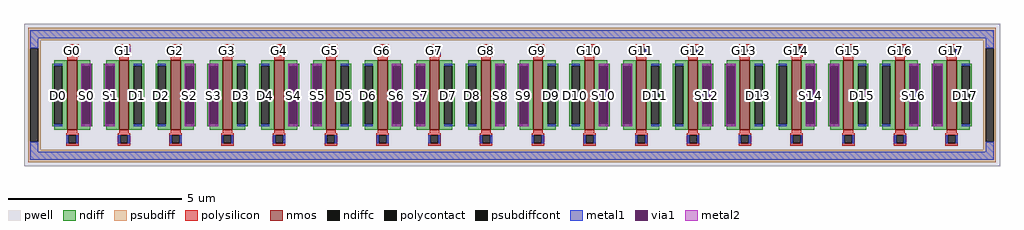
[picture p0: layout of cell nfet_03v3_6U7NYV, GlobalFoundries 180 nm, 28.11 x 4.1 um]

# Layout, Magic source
magic
tech gf180mcuD
magscale 1 10
<< pwell >>
rect -2811 -410 2811 410
<< nmos >>
rect -2561 -200 -2505 200
rect -2263 -200 -2207 200
rect -1965 -200 -1909 200
rect -1667 -200 -1611 200
rect -1369 -200 -1313 200
rect -1071 -200 -1015 200
rect -773 -200 -717 200
rect -475 -200 -419 200
rect -177 -200 -121 200
rect 121 -200 177 200
rect 419 -200 475 200
rect 717 -200 773 200
rect 1015 -200 1071 200
rect 1313 -200 1369 200
rect 1611 -200 1667 200
rect 1909 -200 1965 200
rect 2207 -200 2263 200
rect 2505 -200 2561 200
<< ndiff >>
rect -2636 181 -2561 200
rect -2649 168 -2561 181
rect -2649 -168 -2636 168
rect -2590 -168 -2561 168
rect -2649 -181 -2561 -168
rect -2636 -200 -2561 -181
rect -2505 181 -2430 200
rect -2338 181 -2263 200
rect -2505 168 -2417 181
rect -2505 -168 -2476 168
rect -2430 -168 -2417 168
rect -2505 -181 -2417 -168
rect -2351 168 -2263 181
rect -2351 -168 -2338 168
rect -2292 -168 -2263 168
rect -2351 -181 -2263 -168
rect -2505 -200 -2430 -181
rect -2338 -200 -2263 -181
rect -2207 181 -2132 200
rect -2040 181 -1965 200
rect -2207 168 -2119 181
rect -2207 -168 -2178 168
rect -2132 -168 -2119 168
rect -2207 -181 -2119 -168
rect -2053 168 -1965 181
rect -2053 -168 -2040 168
rect -1994 -168 -1965 168
rect -2053 -181 -1965 -168
rect -2207 -200 -2132 -181
rect -2040 -200 -1965 -181
rect -1909 181 -1834 200
rect -1742 181 -1667 200
rect -1909 168 -1821 181
rect -1909 -168 -1880 168
rect -1834 -168 -1821 168
rect -1909 -181 -1821 -168
rect -1755 168 -1667 181
rect -1755 -168 -1742 168
rect -1696 -168 -1667 168
rect -1755 -181 -1667 -168
rect -1909 -200 -1834 -181
rect -1742 -200 -1667 -181
rect -1611 181 -1536 200
rect -1444 181 -1369 200
rect -1611 168 -1523 181
rect -1611 -168 -1582 168
rect -1536 -168 -1523 168
rect -1611 -181 -1523 -168
rect -1457 168 -1369 181
rect -1457 -168 -1444 168
rect -1398 -168 -1369 168
rect -1457 -181 -1369 -168
rect -1611 -200 -1536 -181
rect -1444 -200 -1369 -181
rect -1313 181 -1238 200
rect -1146 181 -1071 200
rect -1313 168 -1225 181
rect -1313 -168 -1284 168
rect -1238 -168 -1225 168
rect -1313 -181 -1225 -168
rect -1159 168 -1071 181
rect -1159 -168 -1146 168
rect -1100 -168 -1071 168
rect -1159 -181 -1071 -168
rect -1313 -200 -1238 -181
rect -1146 -200 -1071 -181
rect -1015 181 -940 200
rect -848 181 -773 200
rect -1015 168 -927 181
rect -1015 -168 -986 168
rect -940 -168 -927 168
rect -1015 -181 -927 -168
rect -861 168 -773 181
rect -861 -168 -848 168
rect -802 -168 -773 168
rect -861 -181 -773 -168
rect -1015 -200 -940 -181
rect -848 -200 -773 -181
rect -717 181 -642 200
rect -550 181 -475 200
rect -717 168 -629 181
rect -717 -168 -688 168
rect -642 -168 -629 168
rect -717 -181 -629 -168
rect -563 168 -475 181
rect -563 -168 -550 168
rect -504 -168 -475 168
rect -563 -181 -475 -168
rect -717 -200 -642 -181
rect -550 -200 -475 -181
rect -419 181 -344 200
rect -252 181 -177 200
rect -419 168 -331 181
rect -419 -168 -390 168
rect -344 -168 -331 168
rect -419 -181 -331 -168
rect -265 168 -177 181
rect -265 -168 -252 168
rect -206 -168 -177 168
rect -265 -181 -177 -168
rect -419 -200 -344 -181
rect -252 -200 -177 -181
rect -121 181 -46 200
rect 46 181 121 200
rect -121 168 -33 181
rect -121 -168 -92 168
rect -46 -168 -33 168
rect -121 -181 -33 -168
rect 33 168 121 181
rect 33 -168 46 168
rect 92 -168 121 168
rect 33 -181 121 -168
rect -121 -200 -46 -181
rect 46 -200 121 -181
rect 177 181 252 200
rect 344 181 419 200
rect 177 168 265 181
rect 177 -168 206 168
rect 252 -168 265 168
rect 177 -181 265 -168
rect 331 168 419 181
rect 331 -168 344 168
rect 390 -168 419 168
rect 331 -181 419 -168
rect 177 -200 252 -181
rect 344 -200 419 -181
rect 475 181 550 200
rect 642 181 717 200
rect 475 168 563 181
rect 475 -168 504 168
rect 550 -168 563 168
rect 475 -181 563 -168
rect 629 168 717 181
rect 629 -168 642 168
rect 688 -168 717 168
rect 629 -181 717 -168
rect 475 -200 550 -181
rect 642 -200 717 -181
rect 773 181 848 200
rect 940 181 1015 200
rect 773 168 861 181
rect 773 -168 802 168
rect 848 -168 861 168
rect 773 -181 861 -168
rect 927 168 1015 181
rect 927 -168 940 168
rect 986 -168 1015 168
rect 927 -181 1015 -168
rect 773 -200 848 -181
rect 940 -200 1015 -181
rect 1071 181 1146 200
rect 1238 181 1313 200
rect 1071 168 1159 181
rect 1071 -168 1100 168
rect 1146 -168 1159 168
rect 1071 -181 1159 -168
rect 1225 168 1313 181
rect 1225 -168 1238 168
rect 1284 -168 1313 168
rect 1225 -181 1313 -168
rect 1071 -200 1146 -181
rect 1238 -200 1313 -181
rect 1369 181 1444 200
rect 1536 181 1611 200
rect 1369 168 1457 181
rect 1369 -168 1398 168
rect 1444 -168 1457 168
rect 1369 -181 1457 -168
rect 1523 168 1611 181
rect 1523 -168 1536 168
rect 1582 -168 1611 168
rect 1523 -181 1611 -168
rect 1369 -200 1444 -181
rect 1536 -200 1611 -181
rect 1667 181 1742 200
rect 1834 181 1909 200
rect 1667 168 1755 181
rect 1667 -168 1696 168
rect 1742 -168 1755 168
rect 1667 -181 1755 -168
rect 1821 168 1909 181
rect 1821 -168 1834 168
rect 1880 -168 1909 168
rect 1821 -181 1909 -168
rect 1667 -200 1742 -181
rect 1834 -200 1909 -181
rect 1965 181 2040 200
rect 2132 181 2207 200
rect 1965 168 2053 181
rect 1965 -168 1994 168
rect 2040 -168 2053 168
rect 1965 -181 2053 -168
rect 2119 168 2207 181
rect 2119 -168 2132 168
rect 2178 -168 2207 168
rect 2119 -181 2207 -168
rect 1965 -200 2040 -181
rect 2132 -200 2207 -181
rect 2263 181 2338 200
rect 2430 181 2505 200
rect 2263 168 2351 181
rect 2263 -168 2292 168
rect 2338 -168 2351 168
rect 2263 -181 2351 -168
rect 2417 168 2505 181
rect 2417 -168 2430 168
rect 2476 -168 2505 168
rect 2417 -181 2505 -168
rect 2263 -200 2338 -181
rect 2430 -200 2505 -181
rect 2561 181 2636 200
rect 2561 168 2649 181
rect 2561 -168 2590 168
rect 2636 -168 2649 168
rect 2561 -181 2649 -168
rect 2561 -200 2636 -181
<< ndiffc >>
rect -2636 -168 -2590 168
rect -2476 -168 -2430 168
rect -2338 -168 -2292 168
rect -2178 -168 -2132 168
rect -2040 -168 -1994 168
rect -1880 -168 -1834 168
rect -1742 -168 -1696 168
rect -1582 -168 -1536 168
rect -1444 -168 -1398 168
rect -1284 -168 -1238 168
rect -1146 -168 -1100 168
rect -986 -168 -940 168
rect -848 -168 -802 168
rect -688 -168 -642 168
rect -550 -168 -504 168
rect -390 -168 -344 168
rect -252 -168 -206 168
rect -92 -168 -46 168
rect 46 -168 92 168
rect 206 -168 252 168
rect 344 -168 390 168
rect 504 -168 550 168
rect 642 -168 688 168
rect 802 -168 848 168
rect 940 -168 986 168
rect 1100 -168 1146 168
rect 1238 -168 1284 168
rect 1398 -168 1444 168
rect 1536 -168 1582 168
rect 1696 -168 1742 168
rect 1834 -168 1880 168
rect 1994 -168 2040 168
rect 2132 -168 2178 168
rect 2292 -168 2338 168
rect 2430 -168 2476 168
rect 2590 -168 2636 168
<< psubdiff >>
rect -2787 314 2787 386
rect -2787 270 -2715 314
rect -2787 -270 -2774 270
rect -2728 -270 -2715 270
rect 2715 270 2787 314
rect -2787 -314 -2715 -270
rect 2715 -270 2728 270
rect 2774 -270 2787 270
rect 2715 -314 2787 -270
rect -2787 -386 2787 -314
<< psubdiffcont >>
rect -2774 -270 -2728 270
rect 2728 -270 2774 270
<< polysilicon >>
rect -2569 279 -2497 292
rect -2569 233 -2556 279
rect -2510 233 -2497 279
rect -2569 220 -2497 233
rect -2271 279 -2199 292
rect -2271 233 -2258 279
rect -2212 233 -2199 279
rect -2271 220 -2199 233
rect -1973 279 -1901 292
rect -1973 233 -1960 279
rect -1914 233 -1901 279
rect -1973 220 -1901 233
rect -1675 279 -1603 292
rect -1675 233 -1662 279
rect -1616 233 -1603 279
rect -1675 220 -1603 233
rect -1377 279 -1305 292
rect -1377 233 -1364 279
rect -1318 233 -1305 279
rect -1377 220 -1305 233
rect -1079 279 -1007 292
rect -1079 233 -1066 279
rect -1020 233 -1007 279
rect -1079 220 -1007 233
rect -781 279 -709 292
rect -781 233 -768 279
rect -722 233 -709 279
rect -781 220 -709 233
rect -483 279 -411 292
rect -483 233 -470 279
rect -424 233 -411 279
rect -483 220 -411 233
rect -185 279 -113 292
rect -185 233 -172 279
rect -126 233 -113 279
rect -185 220 -113 233
rect 113 279 185 292
rect 113 233 126 279
rect 172 233 185 279
rect 113 220 185 233
rect 411 279 483 292
rect 411 233 424 279
rect 470 233 483 279
rect 411 220 483 233
rect 709 279 781 292
rect 709 233 722 279
rect 768 233 781 279
rect 709 220 781 233
rect 1007 279 1079 292
rect 1007 233 1020 279
rect 1066 233 1079 279
rect 1007 220 1079 233
rect 1305 279 1377 292
rect 1305 233 1318 279
rect 1364 233 1377 279
rect 1305 220 1377 233
rect 1603 279 1675 292
rect 1603 233 1616 279
rect 1662 233 1675 279
rect 1603 220 1675 233
rect 1901 279 1973 292
rect 1901 233 1914 279
rect 1960 233 1973 279
rect 1901 220 1973 233
rect 2199 279 2271 292
rect 2199 233 2212 279
rect 2258 233 2271 279
rect 2199 220 2271 233
rect 2497 279 2569 292
rect 2497 233 2510 279
rect 2556 233 2569 279
rect 2497 220 2569 233
rect -2561 200 -2505 220
rect -2263 200 -2207 220
rect -1965 200 -1909 220
rect -1667 200 -1611 220
rect -1369 200 -1313 220
rect -1071 200 -1015 220
rect -773 200 -717 220
rect -475 200 -419 220
rect -177 200 -121 220
rect 121 200 177 220
rect 419 200 475 220
rect 717 200 773 220
rect 1015 200 1071 220
rect 1313 200 1369 220
rect 1611 200 1667 220
rect 1909 200 1965 220
rect 2207 200 2263 220
rect 2505 200 2561 220
rect -2561 -220 -2505 -200
rect -2263 -220 -2207 -200
rect -1965 -220 -1909 -200
rect -1667 -220 -1611 -200
rect -1369 -220 -1313 -200
rect -1071 -220 -1015 -200
rect -773 -220 -717 -200
rect -475 -220 -419 -200
rect -177 -220 -121 -200
rect 121 -220 177 -200
rect 419 -220 475 -200
rect 717 -220 773 -200
rect 1015 -220 1071 -200
rect 1313 -220 1369 -200
rect 1611 -220 1667 -200
rect 1909 -220 1965 -200
rect 2207 -220 2263 -200
rect 2505 -220 2561 -200
rect -2569 -233 -2497 -220
rect -2569 -279 -2556 -233
rect -2510 -279 -2497 -233
rect -2569 -292 -2497 -279
rect -2271 -233 -2199 -220
rect -2271 -279 -2258 -233
rect -2212 -279 -2199 -233
rect -2271 -292 -2199 -279
rect -1973 -233 -1901 -220
rect -1973 -279 -1960 -233
rect -1914 -279 -1901 -233
rect -1973 -292 -1901 -279
rect -1675 -233 -1603 -220
rect -1675 -279 -1662 -233
rect -1616 -279 -1603 -233
rect -1675 -292 -1603 -279
rect -1377 -233 -1305 -220
rect -1377 -279 -1364 -233
rect -1318 -279 -1305 -233
rect -1377 -292 -1305 -279
rect -1079 -233 -1007 -220
rect -1079 -279 -1066 -233
rect -1020 -279 -1007 -233
rect -1079 -292 -1007 -279
rect -781 -233 -709 -220
rect -781 -279 -768 -233
rect -722 -279 -709 -233
rect -781 -292 -709 -279
rect -483 -233 -411 -220
rect -483 -279 -470 -233
rect -424 -279 -411 -233
rect -483 -292 -411 -279
rect -185 -233 -113 -220
rect -185 -279 -172 -233
rect -126 -279 -113 -233
rect -185 -292 -113 -279
rect 113 -233 185 -220
rect 113 -279 126 -233
rect 172 -279 185 -233
rect 113 -292 185 -279
rect 411 -233 483 -220
rect 411 -279 424 -233
rect 470 -279 483 -233
rect 411 -292 483 -279
rect 709 -233 781 -220
rect 709 -279 722 -233
rect 768 -279 781 -233
rect 709 -292 781 -279
rect 1007 -233 1079 -220
rect 1007 -279 1020 -233
rect 1066 -279 1079 -233
rect 1007 -292 1079 -279
rect 1305 -233 1377 -220
rect 1305 -279 1318 -233
rect 1364 -279 1377 -233
rect 1305 -292 1377 -279
rect 1603 -233 1675 -220
rect 1603 -279 1616 -233
rect 1662 -279 1675 -233
rect 1603 -292 1675 -279
rect 1901 -233 1973 -220
rect 1901 -279 1914 -233
rect 1960 -279 1973 -233
rect 1901 -292 1973 -279
rect 2199 -233 2271 -220
rect 2199 -279 2212 -233
rect 2258 -279 2271 -233
rect 2199 -292 2271 -279
rect 2497 -233 2569 -220
rect 2497 -279 2510 -233
rect 2556 -279 2569 -233
rect 2497 -292 2569 -279
<< polycontact >>
rect -2556 233 -2510 279
rect -2258 233 -2212 279
rect -1960 233 -1914 279
rect -1662 233 -1616 279
rect -1364 233 -1318 279
rect -1066 233 -1020 279
rect -768 233 -722 279
rect -470 233 -424 279
rect -172 233 -126 279
rect 126 233 172 279
rect 424 233 470 279
rect 722 233 768 279
rect 1020 233 1066 279
rect 1318 233 1364 279
rect 1616 233 1662 279
rect 1914 233 1960 279
rect 2212 233 2258 279
rect 2510 233 2556 279
rect -2556 -279 -2510 -233
rect -2258 -279 -2212 -233
rect -1960 -279 -1914 -233
rect -1662 -279 -1616 -233
rect -1364 -279 -1318 -233
rect -1066 -279 -1020 -233
rect -768 -279 -722 -233
rect -470 -279 -424 -233
rect -172 -279 -126 -233
rect 126 -279 172 -233
rect 424 -279 470 -233
rect 722 -279 768 -233
rect 1020 -279 1066 -233
rect 1318 -279 1364 -233
rect 1616 -279 1662 -233
rect 1914 -279 1960 -233
rect 2212 -279 2258 -233
rect 2510 -279 2556 -233
<< metal1 >>
rect -2774 327 2774 373
rect -2774 270 -2728 327
rect -2567 233 -2556 279
rect -2510 233 -2499 279
rect -2269 233 -2258 279
rect -2212 233 -2201 279
rect -1971 233 -1960 279
rect -1914 233 -1903 279
rect -1673 233 -1662 279
rect -1616 233 -1605 279
rect -1375 233 -1364 279
rect -1318 233 -1307 279
rect -1077 233 -1066 279
rect -1020 233 -1009 279
rect -779 233 -768 279
rect -722 233 -711 279
rect -481 233 -470 279
rect -424 233 -413 279
rect -183 233 -172 279
rect -126 233 -115 279
rect 115 233 126 279
rect 172 233 183 279
rect 413 233 424 279
rect 470 233 481 279
rect 711 233 722 279
rect 768 233 779 279
rect 1009 233 1020 279
rect 1066 233 1077 279
rect 1307 233 1318 279
rect 1364 233 1375 279
rect 1605 233 1616 279
rect 1662 233 1673 279
rect 1903 233 1914 279
rect 1960 233 1971 279
rect 2201 233 2212 279
rect 2258 233 2269 279
rect 2499 233 2510 279
rect 2556 233 2567 279
rect 2728 270 2774 327
rect -2636 168 -2590 179
rect -2636 -179 -2590 -168
rect -2479 168 -2427 180
rect -2479 -180 -2427 -168
rect -2341 168 -2289 180
rect -2341 -180 -2289 -168
rect -2178 168 -2132 179
rect -2178 -179 -2132 -168
rect -2040 168 -1994 179
rect -2040 -179 -1994 -168
rect -1883 168 -1831 180
rect -1883 -180 -1831 -168
rect -1745 168 -1693 180
rect -1745 -180 -1693 -168
rect -1582 168 -1536 179
rect -1582 -179 -1536 -168
rect -1444 168 -1398 179
rect -1444 -179 -1398 -168
rect -1287 168 -1235 180
rect -1287 -180 -1235 -168
rect -1149 168 -1097 180
rect -1149 -180 -1097 -168
rect -986 168 -940 179
rect -986 -179 -940 -168
rect -848 168 -802 179
rect -848 -179 -802 -168
rect -691 168 -639 180
rect -691 -180 -639 -168
rect -553 168 -501 180
rect -553 -180 -501 -168
rect -390 168 -344 179
rect -390 -179 -344 -168
rect -252 168 -206 179
rect -252 -179 -206 -168
rect -95 168 -43 180
rect -95 -180 -43 -168
rect 43 168 95 180
rect 43 -180 95 -168
rect 206 168 252 179
rect 206 -179 252 -168
rect 344 168 390 179
rect 344 -179 390 -168
rect 501 168 553 180
rect 501 -180 553 -168
rect 639 168 691 180
rect 639 -180 691 -168
rect 802 168 848 179
rect 802 -179 848 -168
rect 940 168 986 179
rect 940 -179 986 -168
rect 1097 168 1149 180
rect 1097 -180 1149 -168
rect 1235 168 1287 180
rect 1235 -180 1287 -168
rect 1398 168 1444 179
rect 1398 -179 1444 -168
rect 1536 168 1582 179
rect 1536 -179 1582 -168
rect 1693 168 1745 180
rect 1693 -180 1745 -168
rect 1831 168 1883 180
rect 1831 -180 1883 -168
rect 1994 168 2040 179
rect 1994 -179 2040 -168
rect 2132 168 2178 179
rect 2132 -179 2178 -168
rect 2289 168 2341 180
rect 2289 -180 2341 -168
rect 2427 168 2479 180
rect 2427 -180 2479 -168
rect 2590 168 2636 179
rect 2590 -179 2636 -168
rect -2774 -327 -2728 -270
rect -2567 -279 -2556 -233
rect -2510 -279 -2499 -233
rect -2269 -279 -2258 -233
rect -2212 -279 -2201 -233
rect -1971 -279 -1960 -233
rect -1914 -279 -1903 -233
rect -1673 -279 -1662 -233
rect -1616 -279 -1605 -233
rect -1375 -279 -1364 -233
rect -1318 -279 -1307 -233
rect -1077 -279 -1066 -233
rect -1020 -279 -1009 -233
rect -779 -279 -768 -233
rect -722 -279 -711 -233
rect -481 -279 -470 -233
rect -424 -279 -413 -233
rect -183 -279 -172 -233
rect -126 -279 -115 -233
rect 115 -279 126 -233
rect 172 -279 183 -233
rect 413 -279 424 -233
rect 470 -279 481 -233
rect 711 -279 722 -233
rect 768 -279 779 -233
rect 1009 -279 1020 -233
rect 1066 -279 1077 -233
rect 1307 -279 1318 -233
rect 1364 -279 1375 -233
rect 1605 -279 1616 -233
rect 1662 -279 1673 -233
rect 1903 -279 1914 -233
rect 1960 -279 1971 -233
rect 2201 -279 2212 -233
rect 2258 -279 2269 -233
rect 2499 -279 2510 -233
rect 2556 -279 2567 -233
rect 2728 -327 2774 -270
rect -2774 -373 2774 -327
<< via1 >>
rect -2479 -168 -2476 168
rect -2476 -168 -2430 168
rect -2430 -168 -2427 168
rect -2341 -168 -2338 168
rect -2338 -168 -2292 168
rect -2292 -168 -2289 168
rect -1883 -168 -1880 168
rect -1880 -168 -1834 168
rect -1834 -168 -1831 168
rect -1745 -168 -1742 168
rect -1742 -168 -1696 168
rect -1696 -168 -1693 168
rect -1287 -168 -1284 168
rect -1284 -168 -1238 168
rect -1238 -168 -1235 168
rect -1149 -168 -1146 168
rect -1146 -168 -1100 168
rect -1100 -168 -1097 168
rect -691 -168 -688 168
rect -688 -168 -642 168
rect -642 -168 -639 168
rect -553 -168 -550 168
rect -550 -168 -504 168
rect -504 -168 -501 168
rect -95 -168 -92 168
rect -92 -168 -46 168
rect -46 -168 -43 168
rect 43 -168 46 168
rect 46 -168 92 168
rect 92 -168 95 168
rect 501 -168 504 168
rect 504 -168 550 168
rect 550 -168 553 168
rect 639 -168 642 168
rect 642 -168 688 168
rect 688 -168 691 168
rect 1097 -168 1100 168
rect 1100 -168 1146 168
rect 1146 -168 1149 168
rect 1235 -168 1238 168
rect 1238 -168 1284 168
rect 1284 -168 1287 168
rect 1693 -168 1696 168
rect 1696 -168 1742 168
rect 1742 -168 1745 168
rect 1831 -168 1834 168
rect 1834 -168 1880 168
rect 1880 -168 1883 168
rect 2289 -168 2292 168
rect 2292 -168 2338 168
rect 2338 -168 2341 168
rect 2427 -168 2430 168
rect 2430 -168 2476 168
rect 2476 -168 2479 168
<< metal2 >>
rect -2481 168 -2425 180
rect -2481 -168 -2479 168
rect -2427 -168 -2425 168
rect -2481 -180 -2425 -168
rect -2343 168 -2287 180
rect -2343 -168 -2341 168
rect -2289 -168 -2287 168
rect -2343 -180 -2287 -168
rect -1885 168 -1829 180
rect -1885 -168 -1883 168
rect -1831 -168 -1829 168
rect -1885 -180 -1829 -168
rect -1747 168 -1691 180
rect -1747 -168 -1745 168
rect -1693 -168 -1691 168
rect -1747 -180 -1691 -168
rect -1289 168 -1233 180
rect -1289 -168 -1287 168
rect -1235 -168 -1233 168
rect -1289 -180 -1233 -168
rect -1151 168 -1095 180
rect -1151 -168 -1149 168
rect -1097 -168 -1095 168
rect -1151 -180 -1095 -168
rect -693 168 -637 180
rect -693 -168 -691 168
rect -639 -168 -637 168
rect -693 -180 -637 -168
rect -555 168 -499 180
rect -555 -168 -553 168
rect -501 -168 -499 168
rect -555 -180 -499 -168
rect -97 168 -41 180
rect -97 -168 -95 168
rect -43 -168 -41 168
rect -97 -180 -41 -168
rect 41 168 97 180
rect 41 -168 43 168
rect 95 -168 97 168
rect 41 -180 97 -168
rect 499 168 555 180
rect 499 -168 501 168
rect 553 -168 555 168
rect 499 -180 555 -168
rect 637 168 693 180
rect 637 -168 639 168
rect 691 -168 693 168
rect 637 -180 693 -168
rect 1095 168 1151 180
rect 1095 -168 1097 168
rect 1149 -168 1151 168
rect 1095 -180 1151 -168
rect 1233 168 1289 180
rect 1233 -168 1235 168
rect 1287 -168 1289 168
rect 1233 -180 1289 -168
rect 1691 168 1747 180
rect 1691 -168 1693 168
rect 1745 -168 1747 168
rect 1691 -180 1747 -168
rect 1829 168 1885 180
rect 1829 -168 1831 168
rect 1883 -168 1885 168
rect 1829 -180 1885 -168
rect 2287 168 2343 180
rect 2287 -168 2289 168
rect 2341 -168 2343 168
rect 2287 -180 2343 -168
rect 2425 168 2481 180
rect 2425 -168 2427 168
rect 2479 -168 2481 168
rect 2425 -180 2481 -168
<< labels >>
rlabel ndiffc -2613 0 -2613 0 0 D0
port 1 nsew
rlabel ndiffc -2453 0 -2453 0 0 S0
port 2 nsew
rlabel polycontact -2533 256 -2533 256 0 G0
port 3 nsew
rlabel ndiffc -2155 0 -2155 0 0 D1
port 4 nsew
rlabel ndiffc -2315 0 -2315 0 0 S1
port 5 nsew
rlabel polycontact -2235 256 -2235 256 0 G1
port 6 nsew
rlabel ndiffc -2017 0 -2017 0 0 D2
port 7 nsew
rlabel ndiffc -1857 0 -1857 0 0 S2
port 8 nsew
rlabel polycontact -1937 256 -1937 256 0 G2
port 9 nsew
rlabel ndiffc -1559 0 -1559 0 0 D3
port 10 nsew
rlabel ndiffc -1719 0 -1719 0 0 S3
port 11 nsew
rlabel polycontact -1639 256 -1639 256 0 G3
port 12 nsew
rlabel ndiffc -1421 0 -1421 0 0 D4
port 13 nsew
rlabel ndiffc -1261 0 -1261 0 0 S4
port 14 nsew
rlabel polycontact -1341 256 -1341 256 0 G4
port 15 nsew
rlabel ndiffc -963 0 -963 0 0 D5
port 16 nsew
rlabel ndiffc -1123 0 -1123 0 0 S5
port 17 nsew
rlabel polycontact -1043 256 -1043 256 0 G5
port 18 nsew
rlabel ndiffc -825 0 -825 0 0 D6
port 19 nsew
rlabel ndiffc -665 0 -665 0 0 S6
port 20 nsew
rlabel polycontact -745 256 -745 256 0 G6
port 21 nsew
rlabel ndiffc -367 0 -367 0 0 D7
port 22 nsew
rlabel ndiffc -527 0 -527 0 0 S7
port 23 nsew
rlabel polycontact -447 256 -447 256 0 G7
port 24 nsew
rlabel ndiffc -229 0 -229 0 0 D8
port 25 nsew
rlabel ndiffc -69 0 -69 0 0 S8
port 26 nsew
rlabel polycontact -149 256 -149 256 0 G8
port 27 nsew
rlabel ndiffc 229 0 229 0 0 D9
port 28 nsew
rlabel ndiffc 69 0 69 0 0 S9
port 29 nsew
rlabel polycontact 149 256 149 256 0 G9
port 30 nsew
rlabel ndiffc 367 0 367 0 0 D10
port 31 nsew
rlabel ndiffc 527 0 527 0 0 S10
port 32 nsew
rlabel polycontact 447 256 447 256 0 G10
port 33 nsew
rlabel ndiffc 825 0 825 0 0 D11
port 34 nsew
rlabel ndiffc 665 0 665 0 0 S11
port 35 nsew
rlabel polycontact 745 256 745 256 0 G11
port 36 nsew
rlabel ndiffc 963 0 963 0 0 D12
port 37 nsew
rlabel ndiffc 1123 0 1123 0 0 S12
port 38 nsew
rlabel polycontact 1043 256 1043 256 0 G12
port 39 nsew
rlabel ndiffc 1421 0 1421 0 0 D13
port 40 nsew
rlabel ndiffc 1261 0 1261 0 0 S13
port 41 nsew
rlabel polycontact 1341 256 1341 256 0 G13
port 42 nsew
rlabel ndiffc 1559 0 1559 0 0 D14
port 43 nsew
rlabel ndiffc 1719 0 1719 0 0 S14
port 44 nsew
rlabel polycontact 1639 256 1639 256 0 G14
port 45 nsew
rlabel ndiffc 2017 0 2017 0 0 D15
port 46 nsew
rlabel ndiffc 1857 0 1857 0 0 S15
port 47 nsew
rlabel polycontact 1937 256 1937 256 0 G15
port 48 nsew
rlabel ndiffc 2155 0 2155 0 0 D16
port 49 nsew
rlabel ndiffc 2315 0 2315 0 0 S16
port 50 nsew
rlabel polycontact 2235 256 2235 256 0 G16
port 51 nsew
rlabel ndiffc 2613 0 2613 0 0 D17
port 52 nsew
rlabel ndiffc 2453 0 2453 0 0 S17
port 53 nsew
rlabel polycontact 2533 256 2533 256 0 G17
port 54 nsew
<< properties >>
string FIXED_BBOX -2751 -350 2751 350
string gencell nfet_03v3
string library gf180mcu
string parameters w 2.00 l 0.28 m 1 nf 18 diffcov 90 polycov 100 guard 1 glc 1 grc 1 gtc 0 gbc 0 tbcov 100 rlcov 100 topc 1 botc 1 poverlap 0 doverlap 0 lmin 0.28 wmin 0.22 class mosfet full_metal 1 viasrc 90 viadrn 0 viagate 0 viagb 0 viagr 0 viagl 0 viagt 0 doports 1 compatible {nfet_03v3 nfet_05v0 nfet_06v0 nfet_06v0_nvt}
<< end >>
